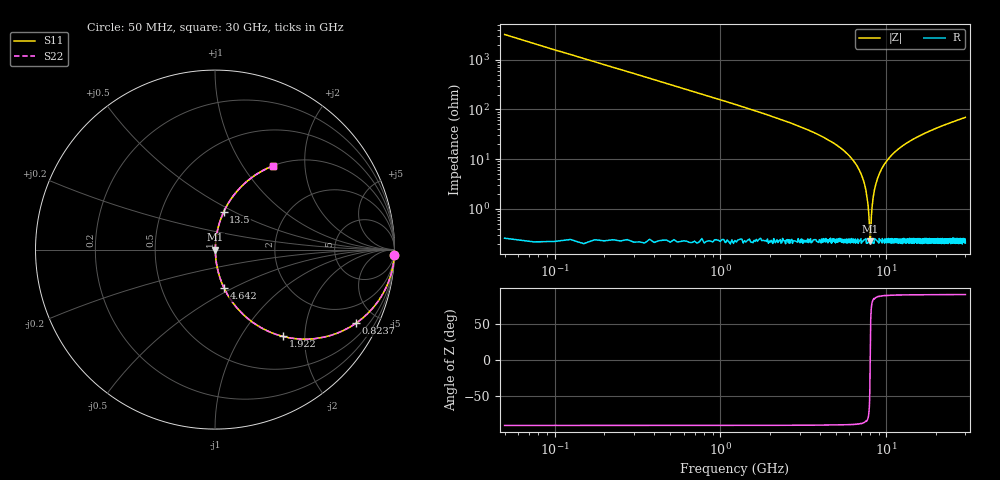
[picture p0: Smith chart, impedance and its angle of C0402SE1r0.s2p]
!	AVX Thin Film Operation 	Date: April 2014
!	Description: Accu-P® Series, Thin Film  SMD RF Capacitor
!	Part Number: 04021J1R0PBSTR
# MHZ S MA R 50
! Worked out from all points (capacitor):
!   1201 points, 50 MHz to 30 GHz, reference 50 ohm
!   read as one part in series: C = 999 fF near 199.8 MHz
!   lowest |Z| = 221 mohm at 7.987 GHz (marker M1)
!   series resonance near 7.998 GHz, so ESL is about 400 pH
!   S11 on the Smith chart (normalised r, x): 50 MHz: 0, -64; 823.7 MHz: 1.00, -3.82; 1.922 GHz: 1.01, -1.56; 4.642 GHz: 1.00, -0.45; 13.5 GHz: 1.00, +0.44; 30 GHz: 1.00, +1.39
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50  1 -1.8  0.031 88.2  0.031 88.2  1 -1.8
349.5  0.977 -12.4  0.215 77.6  0.215 77.6  0.977 -12.4
823.708  0.886 -27.6  0.463 62.3  0.463 62.3  0.886 -27.6
1921.875  0.614 -51.9  0.787 37.9  0.787 37.9  0.614 -51.9
3045  0.407 -65.7  0.911 24.0  0.911 24.0  0.407 -65.7
4642.333  0.221 -76.6  0.973 12.8  0.973 12.8  0.221 -76.6
5041.667  0.186 -78.6  0.98 10.7  0.98 10.7  0.186 -78.6
6364.458  0.091 -83.3  0.994 5.2  0.994 5.2  0.091 -83.3
7163.125  0.044 -84.5  0.997 2.5  0.997 2.5  0.044 -84.5
7612.375  0.02 -82.3  0.998 1.1  0.998 1.1  0.02 -82.3
7886.917  0.005994 -67.4  0.998 0.3  0.998 0.3  0.005994 -67.4
7986.75  0.002341 -13.6  0.998 0.0  0.998 0.0  0.002341 -13.6
8086.583  0.004937 62.3  0.998 -0.3  0.998 -0.3  0.004937 62.3
8361.125  0.018 81.6  0.998 -1.0  0.998 -1.0  0.018 81.6
8660.625  0.032 84.1  0.997 -1.8  0.997 -1.8  0.032 84.1
9234.667  0.057 84.4  0.996 -3.3  0.996 -3.3  0.057 84.4
10058.29  0.091 83.3  0.994 -5.2  0.994 -5.2  0.091 83.3
13502.54  0.213 77.1  0.975 -12.3  0.975 -12.3  0.213 77.1
15025  0.258 74.5  0.964 -15.0  0.964 -15.0  0.258 74.5
20016.67  0.385 67.0  0.921 -22.7  0.921 -22.7  0.385 67.0
25033.29  0.487 60.6  0.871 -29.2  0.871 -29.2  0.487 60.6
30000  0.569 55.1  0.821 -34.7  0.821 -34.7  0.569 55.1
